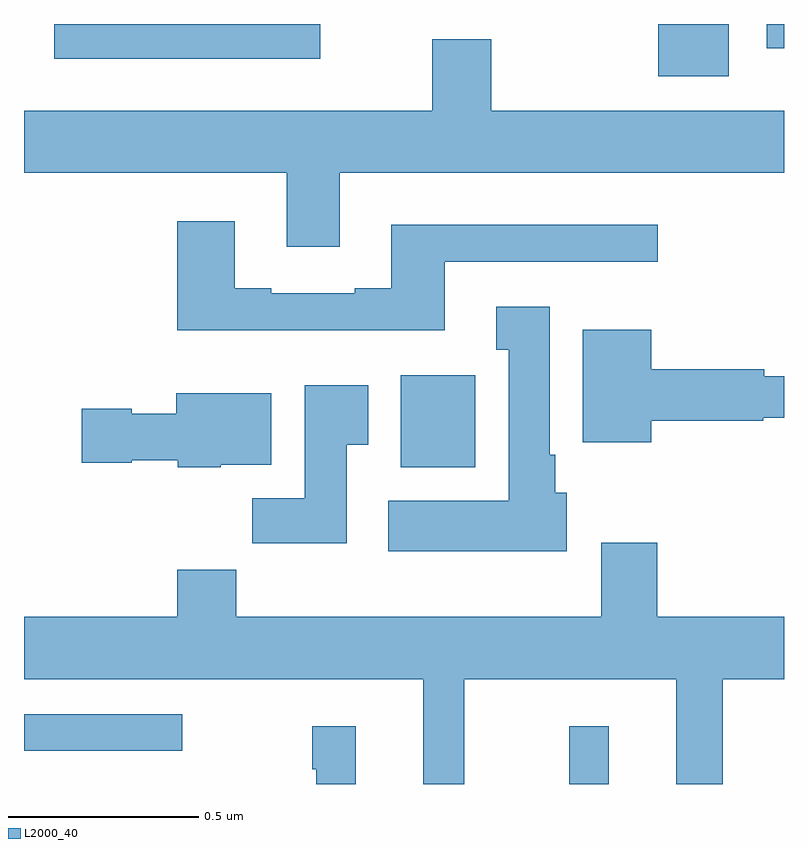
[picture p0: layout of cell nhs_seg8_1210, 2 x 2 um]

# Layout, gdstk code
import gdstk
lib = gdstk.Library(unit=1e-6, precision=1e-09)
def R(c, l, rs):  # rectangles x0, y0, x1, y1
    for r in rs: c.add(gdstk.rectangle(r[:2], r[2:], *l))
def P(c, l, *ps):  # polygons
    for p in ps: c.add(gdstk.Polygon(p, *l))
L2000_40 = (2000, 40)

nhs_seg8_1210 = lib.new_cell('nhs_seg8_1210')
R(nhs_seg8_1210, L2000_40, [(128.435,1106.9,128.539,1107.052), (127,1106.988,127.417,1107.084), (127.991,1107.734,128.188,1107.976), (128.669,1108.763,128.854,1108.9), (127.079,1108.808,127.78,1108.9), (128.954,1108.836,129,1108.9)])
P(nhs_seg8_1210, L2000_40, [(127.831,1108.508),(129,1108.508),(129,1108.672),(128.229,1108.672),(128.229,1108.86),(128.074,1108.86),(128.074,1108.672),(127,1108.672),(127,1108.508),(127.691,1108.508),(127.691,1108.314),(127.831,1108.314)],
  [(128.107,1108.275),(128.668,1108.275),(128.668,1108.372),(127.967,1108.372),(127.967,1108.204),(127.871,1108.204),(127.871,1108.191),(127.651,1108.191),(127.651,1108.204),(127.555,1108.204),(127.555,1108.381),(127.403,1108.381),(127.403,1108.094),(128.107,1108.094)],
  [(128.428,1107.666),(128.398,1107.666),(128.398,1107.766),(128.383,1107.766),(128.383,1108.156),(128.243,1108.156),(128.243,1108.043),(128.276,1108.043),(128.276,1107.646),(127.959,1107.646),(127.959,1107.512),(128.428,1107.512)],
  [(128.65,1107.856),(128.946,1107.856),(128.946,1107.864),(129,1107.864),(129,1107.973),(128.948,1107.973),(128.948,1107.992),(128.65,1107.992),(128.65,1108.096),(128.471,1108.096),(128.471,1107.8),(128.65,1107.8)],
  [(127.849,1107.793),(127.906,1107.793),(127.906,1107.949),(127.739,1107.949),(127.739,1107.652),(127.6,1107.652),(127.6,1107.534),(127.849,1107.534)],
  [(127.518,1107.74),(127.651,1107.74),(127.651,1107.928),(127.4,1107.928),(127.4,1107.874),(127.284,1107.874),(127.284,1107.887),(127.152,1107.887),(127.152,1107.745),(127.284,1107.745),(127.284,1107.752),(127.404,1107.752),(127.404,1107.734),(127.518,1107.734)],
  [(128.158,1107.176),(128.717,1107.176),(128.717,1106.9),(128.839,1106.9),(128.839,1107.176),(129,1107.176),(129,1107.34),(128.667,1107.34),(128.667,1107.535),(128.519,1107.535),(128.519,1107.34),(127.559,1107.34),(127.559,1107.464),(127.403,1107.464),(127.403,1107.34),(127,1107.34),(127,1107.176),(128.051,1107.176),(128.051,1106.9),(128.158,1106.9)],
  [(127.873,1107.052),(127.759,1107.052),(127.759,1106.939),(127.769,1106.939),(127.769,1106.9),(127.873,1106.9)])

lib.write_gds('nhs_seg8_1210.gds')
